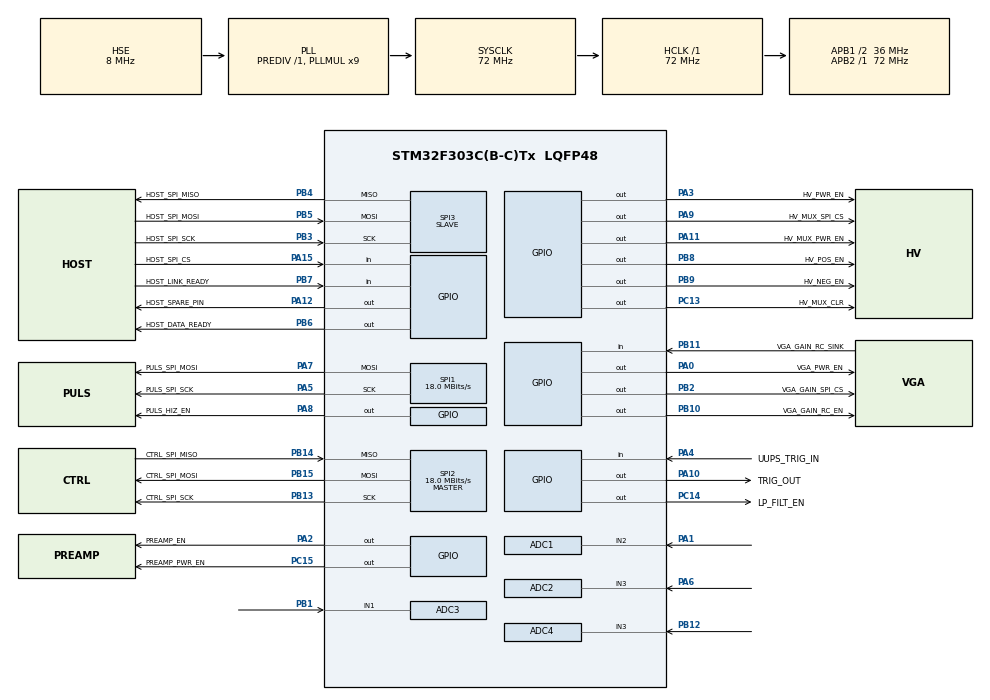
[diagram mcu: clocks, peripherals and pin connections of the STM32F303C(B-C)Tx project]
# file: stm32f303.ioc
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ADC1.Channel-6\#ChannelRegularConversion=ADC_CHANNEL_2
ADC1.DMAContinuousRequests=ENABLE
ADC1.EnableInjectedConversion=DISABLE
ADC1.ExternalTrigConv=ADC_EXTERNALTRIGCONV_T1_TRGO
ADC1.NbrOfConversionFlag=1
ADC1.Offset-6\#ChannelRegularConversion=0
ADC1.OffsetNumber-6\#ChannelRegularConversion=ADC_OFFSET_NONE
ADC1.Rank-6\#ChannelRegularConversion=1
ADC1.SamplingTime-6\#ChannelRegularConversion=ADC_SAMPLETIME_1CYCLE_5
ADC1.SamplingTimeOPAMP-6\#ChannelRegularConversion=ADC_SAMPLETIME_61CYCLES_5
ADC1.master=1
ADC2.Channel-4\#ChannelRegularConversion=ADC_CHANNEL_3
ADC2.DMAContinuousRequests=ENABLE
ADC2.EnableInjectedConversion=DISABLE
ADC2.ExternalTrigConv=ADC_EXTERNALTRIGCONV_T1_CC2
ADC2.NbrOfConversionFlag=1
ADC2.Offset-4\#ChannelRegularConversion=0
ADC2.OffsetNumber-4\#ChannelRegularConversion=ADC_OFFSET_NONE
ADC2.Rank-4\#ChannelRegularConversion=1
ADC2.SamplingTime-4\#ChannelRegularConversion=ADC_SAMPLETIME_1CYCLE_5
ADC2.SamplingTimeOPAMP-4\#ChannelRegularConversion=ADC_SAMPLETIME_61CYCLES_5
ADC3.Channel-0\#ChannelRegularConversion=ADC_CHANNEL_1
ADC3.DMAContinuousRequests=ENABLE
ADC3.EnableInjectedConversion=DISABLE
ADC3.ExternalTrigConv=ADC_EXTERNALTRIGCONV_T1_CC3
ADC3.NbrOfConversionFlag=1
ADC3.Offset-0\#ChannelRegularConversion=0
ADC3.OffsetNumber-0\#ChannelRegularConversion=ADC_OFFSET_NONE
ADC3.Rank-0\#ChannelRegularConversion=1
ADC3.SamplingTime-0\#ChannelRegularConversion=ADC_SAMPLETIME_1CYCLE_5
ADC3.SamplingTimeOPAMP-0\#ChannelRegularConversion=ADC_SAMPLETIME_61CYCLES_5
ADC3.master=1
ADC4.Channel-0\#ChannelRegularConversion=ADC_CHANNEL_3
ADC4.DMAContinuousRequests=ENABLE
ADC4.EnableInjectedConversion=DISABLE
ADC4.ExternalTrigConv=ADC_EXTERNALTRIGCONV_T1_TRGO2
ADC4.NbrOfConversionFlag=1
ADC4.Offset-0\#ChannelRegularConversion=0
ADC4.OffsetNumber-0\#ChannelRegularConversion=ADC_OFFSET_NONE
ADC4.Rank-0\#ChannelRegularConversion=1
ADC4.SamplingTime-0\#ChannelRegularConversion=ADC_SAMPLETIME_1CYCLE_5
Dma.ADC1.1.Direction=DMA_PERIPH_TO_MEMORY
Dma.ADC1.1.Instance=DMA1_Channel1
Dma.ADC1.1.MemDataAlignment=DMA_MDATAALIGN_HALFWORD
Dma.ADC1.1.MemInc=DMA_MINC_ENABLE
Dma.ADC1.1.Mode=DMA_CIRCULAR
Dma.ADC1.1.PeriphDataAlignment=DMA_PDATAALIGN_HALFWORD
Dma.ADC1.1.PeriphInc=DMA_PINC_DISABLE
Dma.ADC1.1.Priority=DMA_PRIORITY_VERY_HIGH
Dma.ADC2.2.Direction=DMA_PERIPH_TO_MEMORY
Dma.ADC2.2.Instance=DMA2_Channel1
Dma.ADC2.2.MemDataAlignment=DMA_MDATAALIGN_HALFWORD
Dma.ADC2.2.MemInc=DMA_MINC_ENABLE
Dma.ADC2.2.Mode=DMA_CIRCULAR
Dma.ADC2.2.PeriphDataAlignment=DMA_PDATAALIGN_HALFWORD
Dma.ADC2.2.PeriphInc=DMA_PINC_DISABLE
Dma.ADC2.2.Priority=DMA_PRIORITY_VERY_HIGH
Dma.ADC3.0.Direction=DMA_PERIPH_TO_MEMORY
Dma.ADC3.0.Instance=DMA2_Channel5
Dma.ADC3.0.MemDataAlignment=DMA_MDATAALIGN_HALFWORD
Dma.ADC3.0.MemInc=DMA_MINC_ENABLE
Dma.ADC3.0.Mode=DMA_CIRCULAR
Dma.ADC3.0.PeriphDataAlignment=DMA_PDATAALIGN_HALFWORD
Dma.ADC3.0.PeriphInc=DMA_PINC_DISABLE
Dma.ADC3.0.Priority=DMA_PRIORITY_VERY_HIGH
Dma.ADC4.3.Direction=DMA_PERIPH_TO_MEMORY
Dma.ADC4.3.Instance=DMA2_Channel2
Dma.ADC4.3.MemDataAlignment=DMA_MDATAALIGN_HALFWORD
Dma.ADC4.3.MemInc=DMA_MINC_ENABLE
Dma.ADC4.3.Mode=DMA_CIRCULAR
Dma.ADC4.3.PeriphDataAlignment=DMA_PDATAALIGN_HALFWORD
Dma.ADC4.3.PeriphInc=DMA_PINC_DISABLE
Dma.ADC4.3.Priority=DMA_PRIORITY_VERY_HIGH
Dma.Request0=ADC3
Dma.Request1=ADC1
Dma.Request2=ADC2
Dma.Request3=ADC4
Mcu.Family=STM32F3
Mcu.Name=STM32F303C(B-C)Tx
Mcu.Package=LQFP48
NVIC.DMA1_Channel1_IRQn=true\:0\:0\:false\:false\:true\:false\:true\:true
NVIC.DMA2_Channel1_IRQn=true\:0\:0\:false\:false\:true\:false\:true\:true
NVIC.DMA2_Channel2_IRQn=true\:0\:0\:false\:false\:true\:false\:true\:true
NVIC.DMA2_Channel5_IRQn=true\:0\:0\:false\:false\:true\:false\:true\:true
NVIC.PriorityGroup=NVIC_PRIORITYGROUP_4
PA0.GPIO_Label=VGA_PWR_EN
PA0.Signal=GPIO_Output
PA1.Mode=IN2-Single-Ended
PA1.Signal=ADC1_IN2
PA10.GPIO_Label=TRIG_OUT
PA10.Signal=GPIO_Output
PA11.GPIO_Label=HV_MUX_PWR_EN
PA11.Signal=GPIO_Output
PA12.GPIO_Label=HOST_SPARE_PIN
PA12.Signal=GPIO_Output
PA13.Mode=Serial_Wire
PA13.Signal=SYS_JTMS-SWDIO
PA14.Mode=Serial_Wire
PA14.Signal=SYS_JTCK-SWCLK
PA15.GPIO_Label=HOST_SPI_CS
PA15.Signal=GPIO_Input
PA2.GPIO_Label=PREAMP_EN
PA2.Signal=GPIO_Output
PA3.GPIO_Label=HV_PWR_EN
PA3.Signal=GPIO_Output
PA4.GPIO_Label=UUPS_TRIG_IN
PA4.Signal=GPIO_Input
PA5.GPIO_Label=PULS_SPI_SCK
PA5.Mode=TX_Only_Simplex_Unidirect_Master
PA5.Signal=SPI1_SCK
PA6.Mode=IN3-Single-Ended
PA6.Signal=ADC2_IN3
PA7.GPIO_Label=PULS_SPI_MOSI
PA7.Mode=TX_Only_Simplex_Unidirect_Master
PA7.Signal=SPI1_MOSI
PA8.GPIO_Label=PULS_HIZ_EN
PA8.Signal=GPIO_Output
PA9.GPIO_Label=HV_MUX_SPI_CS
PA9.Signal=GPIO_Output
PB1.Mode=IN1-Single-Ended
PB1.Signal=ADC3_IN1
PB10.GPIO_Label=VGA_GAIN_RC_EN
PB10.Signal=GPIO_Output
PB11.GPIO_Label=VGA_GAIN_RC_SINK
PB11.Signal=GPIO_Input
PB12.Mode=IN3-Single-Ended
PB12.Signal=ADC4_IN3
PB13.GPIO_Label=CTRL_SPI_SCK
PB13.Mode=Full_Duplex_Master
PB13.Signal=SPI2_SCK
PB14.GPIO_Label=CTRL_SPI_MISO
PB14.Mode=Full_Duplex_Master
PB14.Signal=SPI2_MISO
PB15.GPIO_Label=CTRL_SPI_MOSI
PB15.Mode=Full_Duplex_Master
PB15.Signal=SPI2_MOSI
PB2.GPIO_Label=VGA_GAIN_SPI_CS
PB2.Signal=GPIO_Output
PB3.GPIO_Label=HOST_SPI_SCK
PB3.Mode=Full_Duplex_Slave
PB3.Signal=SPI3_SCK
PB4.GPIO_Label=HOST_SPI_MISO
PB4.Mode=Full_Duplex_Slave
PB4.Signal=SPI3_MISO
PB5.GPIO_Label=HOST_SPI_MOSI
PB5.Mode=Full_Duplex_Slave
PB5.Signal=SPI3_MOSI
PB6.GPIO_Label=HOST_DATA_READY
PB6.Signal=GPIO_Output
PB7.GPIO_Label=HOST_LINK_READY
PB7.Signal=GPIO_Input
PB8.GPIO_Label=HV_POS_EN
PB8.Signal=GPIO_Output
PB9.GPIO_Label=HV_NEG_EN
PB9.Signal=GPIO_Output
PC13.GPIO_Label=HV_MUX_CLR
PC13.Signal=GPIO_Output
PC14-OSC32_IN.GPIO_Label=LP_FILT_EN
PC14-OSC32_IN.Signal=GPIO_Output
PC15-OSC32_OUT.GPIO_Label=PREAMP_PWR_EN
PC15-OSC32_OUT.Signal=GPIO_Output
PF0-OSC_IN.Mode=HSE-External-Oscillator
PF0-OSC_IN.Signal=RCC_OSC_IN
PF1-OSC_OUT.Mode=HSE-External-Oscillator
PF1-OSC_OUT.Signal=RCC_OSC_OUT
ProjectManager.HeapSize=0x200
ProjectManager.StackSize=0x400
ProjectManager.TargetToolchain=EWARM V8.32
RCC.AHBFreq_Value=72000000
RCC.APB1CLKDivider=RCC_HCLK_DIV2
RCC.APB1Freq_Value=36000000
RCC.APB1TimFreq_Value=72000000
RCC.APB2Freq_Value=72000000
RCC.APB2TimFreq_Value=72000000
RCC.CortexFreq_Value=72000000
RCC.HCLKFreq_Value=72000000
RCC.HSE_VALUE=8000000
RCC.HSI_VALUE=8000000
RCC.LSE_VALUE=32768
RCC.PLLMUL=RCC_PLL_MUL9
RCC.PLLSourceVirtual=RCC_PLLSOURCE_HSE
RCC.SYSCLKFreq_VALUE=72000000
RCC.SYSCLKSourceVirtual=RCC_SYSCLKSOURCE_PLLCLK
RCC.TIM1Selection=RCC_TIM1CLK_PLLCLK
RCC.USBFreq_Value=72000000
SPI1.BaudRatePrescaler=SPI_BAUDRATEPRESCALER_4
SPI1.CalculateBaudRate=18.0 MBits/s
SPI1.Direction=SPI_DIRECTION_2LINES
SPI1.Mode=SPI_MODE_MASTER
SPI1.VirtualType=VM_MASTER
SPI2.CalculateBaudRate=18.0 MBits/s
SPI2.Direction=SPI_DIRECTION_2LINES
SPI2.Mode=SPI_MODE_MASTER
SPI2.VirtualType=VM_MASTER
SPI3.Direction=SPI_DIRECTION_2LINES
SPI3.Mode=SPI_MODE_SLAVE
SPI3.VirtualType=VM_SLAVE
TIM1.AutoReloadPreload=TIM_AUTORELOAD_PRELOAD_ENABLE
TIM1.Channel-PWM\ Generation2\ No\ Output=TIM_CHANNEL_2
TIM1.Channel-PWM\ Generation3\ No\ Output=TIM_CHANNEL_3
TIM1.Channel-PWM\ Generation4\ No\ Output=TIM_CHANNEL_4
TIM1.OCMode_PWM-PWM\ Generation2\ No\ Output=TIM_OCMODE_PWM2
TIM1.OCMode_PWM-PWM\ Generation3\ No\ Output=TIM_OCMODE_PWM2
TIM1.OCMode_PWM-PWM\ Generation4\ No\ Output=TIM_OCMODE_PWM2
TIM1.Period=31
TIM1.Pulse-PWM\ Generation2\ No\ Output=8
TIM1.Pulse-PWM\ Generation3\ No\ Output=16
TIM1.TIM_MasterOutputTrigger=TIM_TRGO_UPDATE
TIM1.TIM_MasterOutputTrigger2=TIM_TRGO2_OC4REF
VP_TIM1_VS_ClockSourceINT.Mode=Internal
VP_TIM1_VS_no_output2.Mode=PWM Generation2 No Output
VP_TIM1_VS_no_output3.Mode=PWM Generation3 No Output
VP_TIM1_VS_no_output4.Mode=PWM Generation4 No Output
board=custom

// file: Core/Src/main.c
/* USER CODE BEGIN Header */
/**
  ******************************************************************************
  * @file           : main.c
  * @brief          : Main program body
  ******************************************************************************
  * @attention
  *
  * Copyright (c) 2026 STMicroelectronics.
  * All rights reserved.
  *
  * This software is licensed under terms that can be found in the LICENSE file
  * in the root directory of this software component.
  * If no LICENSE file comes with this software, it is provided AS-IS.
  *
  ******************************************************************************
  */
/* USER CODE END Header */
#include "main.h"

ADC_HandleTypeDef hadc1;
ADC_HandleTypeDef hadc2;
ADC_HandleTypeDef hadc3;
ADC_HandleTypeDef hadc4;
DMA_HandleTypeDef hdma_adc1;
DMA_HandleTypeDef hdma_adc2;
DMA_HandleTypeDef hdma_adc3;
DMA_HandleTypeDef hdma_adc4;

SPI_HandleTypeDef hspi1;
SPI_HandleTypeDef hspi2;
SPI_HandleTypeDef hspi3;

TIM_HandleTypeDef htim1;

/* USER CODE BEGIN PV */

#define BUFFER_SIZE 1000
#define TOTAL_SAMPLES (BUFFER_SIZE * 4)

uint16_t adc1_buf[BUFFER_SIZE];
uint16_t adc2_buf[BUFFER_SIZE];
uint16_t adc3_buf[BUFFER_SIZE];
uint16_t adc4_buf[BUFFER_SIZE];

uint16_t interleaved_buffer[TOTAL_SAMPLES];

volatile uint8_t dma_half_ready = 0;
volatile uint8_t dma_full_ready = 0;

// Diferencias medidas respecto al ADC1
int16_t offset_adc2 = 0;
int16_t offset_adc4 = 0;
int16_t offset_adc3 = 0;

//int16_t offset_adc2 = -57;  // 1117 - 1174
//int16_t offset_adc4 = -73;  // 1117 - 1190
//int16_t offset_adc3 = -69;  // 1117 - 1186

/* USER CODE END PV */

void SystemClock_Config(void);
static void MX_GPIO_Init(void);
static void MX_DMA_Init(void);
static void MX_ADC1_Init(void);
static void MX_ADC2_Init(void);
static void MX_ADC3_Init(void);
static void MX_ADC4_Init(void);
static void MX_SPI2_Init(void);
static void MX_SPI3_Init(void);
static void MX_SPI1_Init(void);
static void MX_TIM1_Init(void);

int main(void)
{

  /* MCU Configuration--------------------------------------------------------*/

  /* Reset of all peripherals, Initializes the Flash interface and the Systick. */
  HAL_Init();

  /* Configure the system clock */
  SystemClock_Config();

  /* Initialize all configured peripherals */
  MX_GPIO_Init();
  MX_DMA_Init();
  MX_ADC1_Init();
  MX_ADC2_Init();
  MX_ADC3_Init();
  MX_ADC4_Init();
  MX_SPI2_Init();
  MX_SPI3_Init();
  MX_SPI1_Init();
  MX_TIM1_Init();
  /* USER CODE BEGIN 2 */

  /* 0. Calibrate ADCs */
  HAL_ADCEx_Calibration_Start(&hadc1, ADC_SINGLE_ENDED);
  HAL_ADCEx_Calibration_Start(&hadc2, ADC_SINGLE_ENDED);
  HAL_ADCEx_Calibration_Start(&hadc3, ADC_SINGLE_ENDED);
  HAL_ADCEx_Calibration_Start(&hadc4, ADC_SINGLE_ENDED);

  /* 1. Enable PWM pins silently (DO NOT start the Timer clock yet!) */
  TIM_CCxChannelCmd(htim1.Instance, TIM_CHANNEL_2, TIM_CCx_ENABLE);
  TIM_CCxChannelCmd(htim1.Instance, TIM_CHANNEL_3, TIM_CCx_ENABLE);
  TIM_CCxChannelCmd(htim1.Instance, TIM_CHANNEL_4, TIM_CCx_ENABLE);
  __HAL_TIM_MOE_ENABLE(&htim1);

  /* 2. Clear flags to avoid ghost triggers */
  htim1.Instance->EGR = TIM_EGR_UG;
  __HAL_TIM_CLEAR_FLAG(&htim1, TIM_FLAG_UPDATE);

  /* 3. Arm ADCs. They will wait synchronously for the first clock tick */
  HAL_ADC_Start_DMA(&hadc1, (uint32_t*)adc1_buf, BUFFER_SIZE);
  HAL_ADC_Start_DMA(&hadc2, (uint32_t*)adc2_buf, BUFFER_SIZE);
  HAL_ADC_Start_DMA(&hadc3, (uint32_t*)adc3_buf, BUFFER_SIZE);
  HAL_ADC_Start_DMA(&hadc4, (uint32_t*)adc4_buf, BUFFER_SIZE);

  /* 4. FIRE! Start the master clock */
  __HAL_TIM_ENABLE(&htim1);

  /* USER CODE END 2 */

  /* Infinite loop */
  /* USER CODE BEGIN WHILE */

  while (1)
  {
    if (dma_half_ready)
    {
        dma_half_ready = 0;
        Interleave_Data(0, BUFFER_SIZE / 2);
    }

    if (dma_full_ready)
    {
        dma_full_ready = 0;
        Interleave_Data(BUFFER_SIZE / 2, BUFFER_SIZE);

        __NOP();

        /* Your interleaved_buffer is completely updated here. */
        /* You can pass it to your Edge AI processing pipeline. */
    }
    /* USER CODE END WHILE */

  }
}

void SystemClock_Config(void)
{
  RCC_OscInitTypeDef RCC_OscInitStruct = {0};
  RCC_ClkInitTypeDef RCC_ClkInitStruct = {0};
  RCC_PeriphCLKInitTypeDef PeriphClkInit = {0};

  /** Initializes the RCC Oscillators according to the specified parameters
  * in the RCC_OscInitTypeDef structure.
  */
  RCC_OscInitStruct.OscillatorType = RCC_OSCILLATORTYPE_HSE;
  RCC_OscInitStruct.HSEState = RCC_HSE_ON;
  RCC_OscInitStruct.HSEPredivValue = RCC_HSE_PREDIV_DIV1;
  RCC_OscInitStruct.HSIState = RCC_HSI_ON;
  RCC_OscInitStruct.PLL.PLLState = RCC_PLL_ON;
  RCC_OscInitStruct.PLL.PLLSource = RCC_PLLSOURCE_HSE;
  RCC_OscInitStruct.PLL.PLLMUL = RCC_PLL_MUL9;
  if (HAL_RCC_OscConfig(&RCC_OscInitStruct) != HAL_OK)
  {
    Error_Handler();
  }

  /** Initializes the CPU, AHB and APB buses clocks
  */
  RCC_ClkInitStruct.ClockType = RCC_CLOCKTYPE_HCLK|RCC_CLOCKTYPE_SYSCLK
                              |RCC_CLOCKTYPE_PCLK1|RCC_CLOCKTYPE_PCLK2;
  RCC_ClkInitStruct.SYSCLKSource = RCC_SYSCLKSOURCE_PLLCLK;
  RCC_ClkInitStruct.AHBCLKDivider = RCC_SYSCLK_DIV1;
  RCC_ClkInitStruct.APB1CLKDivider = RCC_HCLK_DIV2;
  RCC_ClkInitStruct.APB2CLKDivider = RCC_HCLK_DIV1;

  if (HAL_RCC_ClockConfig(&RCC_ClkInitStruct, FLASH_LATENCY_2) != HAL_OK)
  {
    Error_Handler();
  }
  PeriphClkInit.PeriphClockSelection = RCC_PERIPHCLK_TIM1|RCC_PERIPHCLK_ADC12
                              |RCC_PERIPHCLK_ADC34;
  PeriphClkInit.Adc12ClockSelection = RCC_ADC12PLLCLK_DIV1;
  PeriphClkInit.Adc34ClockSelection = RCC_ADC34PLLCLK_DIV1;
  PeriphClkInit.Tim1ClockSelection = RCC_TIM1CLK_PLLCLK;
  if (HAL_RCCEx_PeriphCLKConfig(&PeriphClkInit) != HAL_OK)
  {
    Error_Handler();
  }
}

static void MX_ADC1_Init(void)
{

  ADC_MultiModeTypeDef multimode = {0};
  ADC_ChannelConfTypeDef sConfig = {0};

  /** Common config
  */
  hadc1.Instance = ADC1;
  hadc1.Init.ClockPrescaler = ADC_CLOCK_ASYNC_DIV1;
  hadc1.Init.Resolution = ADC_RESOLUTION_12B;
  hadc1.Init.ScanConvMode = ADC_SCAN_DISABLE;
  hadc1.Init.ContinuousConvMode = DISABLE;
  hadc1.Init.DiscontinuousConvMode = DISABLE;
  hadc1.Init.ExternalTrigConvEdge = ADC_EXTERNALTRIGCONVEDGE_RISING;
  hadc1.Init.ExternalTrigConv = ADC_EXTERNALTRIGCONV_T1_TRGO;
  hadc1.Init.DataAlign = ADC_DATAALIGN_RIGHT;
  hadc1.Init.NbrOfConversion = 1;
  hadc1.Init.DMAContinuousRequests = ENABLE;
  hadc1.Init.EOCSelection = ADC_EOC_SINGLE_CONV;
  hadc1.Init.LowPowerAutoWait = DISABLE;
  hadc1.Init.Overrun = ADC_OVR_DATA_OVERWRITTEN;
  if (HAL_ADC_Init(&hadc1) != HAL_OK)
  {
    Error_Handler();
  }

  /** Configure the ADC multi-mode
  */
  multimode.Mode = ADC_MODE_INDEPENDENT;
  if (HAL_ADCEx_MultiModeConfigChannel(&hadc1, &multimode) != HAL_OK)
  {
    Error_Handler();
  }

  /** Configure Regular Channel
  */
  sConfig.Channel = ADC_CHANNEL_2;
  sConfig.Rank = ADC_REGULAR_RANK_1;
  sConfig.SingleDiff = ADC_SINGLE_ENDED;
  sConfig.SamplingTime = ADC_SAMPLETIME_1CYCLE_5;
  sConfig.OffsetNumber = ADC_OFFSET_NONE;
  sConfig.Offset = 0;
  if (HAL_ADC_ConfigChannel(&hadc1, &sConfig) != HAL_OK)
  {
    Error_Handler();
  }

}

static void MX_ADC2_Init(void)
{

  ADC_ChannelConfTypeDef sConfig = {0};

  /** Common config
  */
  hadc2.Instance = ADC2;
  hadc2.Init.ClockPrescaler = ADC_CLOCK_ASYNC_DIV1;
  hadc2.Init.Resolution = ADC_RESOLUTION_12B;
  hadc2.Init.ScanConvMode = ADC_SCAN_DISABLE;
  hadc2.Init.ContinuousConvMode = DISABLE;
  hadc2.Init.DiscontinuousConvMode = DISABLE;
  hadc2.Init.ExternalTrigConvEdge = ADC_EXTERNALTRIGCONVEDGE_RISING;
  hadc2.Init.ExternalTrigConv = ADC_EXTERNALTRIGCONV_T1_CC2;
  hadc2.Init.DataAlign = ADC_DATAALIGN_RIGHT;
  hadc2.Init.NbrOfConversion = 1;
  hadc2.Init.DMAContinuousRequests = ENABLE;
  hadc2.Init.EOCSelection = ADC_EOC_SINGLE_CONV;
  hadc2.Init.LowPowerAutoWait = DISABLE;
  hadc2.Init.Overrun = ADC_OVR_DATA_OVERWRITTEN;
  if (HAL_ADC_Init(&hadc2) != HAL_OK)
  {
    Error_Handler();
  }

  /** Configure Regular Channel
  */
  sConfig.Channel = ADC_CHANNEL_3;
  sConfig.Rank = ADC_REGULAR_RANK_1;
  sConfig.SingleDiff = ADC_SINGLE_ENDED;
  sConfig.SamplingTime = ADC_SAMPLETIME_1CYCLE_5;
  sConfig.OffsetNumber = ADC_OFFSET_NONE;
  sConfig.Offset = 0;
  if (HAL_ADC_ConfigChannel(&hadc2, &sConfig) != HAL_OK)
  {
    Error_Handler();
  }

}

static void MX_ADC3_Init(void)
{

  ADC_MultiModeTypeDef multimode = {0};
  ADC_ChannelConfTypeDef sConfig = {0};

  /** Common config
  */
  hadc3.Instance = ADC3;
  hadc3.Init.ClockPrescaler = ADC_CLOCK_ASYNC_DIV1;
  hadc3.Init.Resolution = ADC_RESOLUTION_12B;
  hadc3.Init.ScanConvMode = ADC_SCAN_DISABLE;
  hadc3.Init.ContinuousConvMode = DISABLE;
  hadc3.Init.DiscontinuousConvMode = DISABLE;
  hadc3.Init.ExternalTrigConvEdge = ADC_EXTERNALTRIGCONVEDGE_RISING;
  hadc3.Init.ExternalTrigConv = ADC_EXTERNALTRIGCONV_T1_CC3;
  hadc3.Init.DataAlign = ADC_DATAALIGN_RIGHT;
  hadc3.Init.NbrOfConversion = 1;
  hadc3.Init.DMAContinuousRequests = ENABLE;
  hadc3.Init.EOCSelection = ADC_EOC_SINGLE_CONV;
  hadc3.Init.LowPowerAutoWait = DISABLE;
  hadc3.Init.Overrun = ADC_OVR_DATA_OVERWRITTEN;
  if (HAL_ADC_Init(&hadc3) != HAL_OK)
  {
    Error_Handler();
  }

  /** Configure the ADC multi-mode
  */
  multimode.Mode = ADC_MODE_INDEPENDENT;
  if (HAL_ADCEx_MultiModeConfigChannel(&hadc3, &multimode) != HAL_OK)
  {
    Error_Handler();
  }

  /** Configure Regular Channel
  */
  sConfig.Channel = ADC_CHANNEL_1;
  sConfig.Rank = ADC_REGULAR_RANK_1;
  sConfig.SingleDiff = ADC_SINGLE_ENDED;
  sConfig.SamplingTime = ADC_SAMPLETIME_1CYCLE_5;
  sConfig.OffsetNumber = ADC_OFFSET_NONE;
  sConfig.Offset = 0;
  if (HAL_ADC_ConfigChannel(&hadc3, &sConfig) != HAL_OK)
  {
    Error_Handler();
  }

}

static void MX_ADC4_Init(void)
{

  ADC_ChannelConfTypeDef sConfig = {0};

  /** Common config
  */
  hadc4.Instance = ADC4;
  hadc4.Init.ClockPrescaler = ADC_CLOCK_ASYNC_DIV1;
  hadc4.Init.Resolution = ADC_RESOLUTION_12B;
  hadc4.Init.ScanConvMode = ADC_SCAN_DISABLE;
  hadc4.Init.ContinuousConvMode = DISABLE;
  hadc4.Init.DiscontinuousConvMode = DISABLE;
  hadc4.Init.ExternalTrigConvEdge = ADC_EXTERNALTRIGCONVEDGE_RISING;
  hadc4.Init.ExternalTrigConv = ADC_EXTERNALTRIGCONV_T1_TRGO2;
  hadc4.Init.DataAlign = ADC_DATAALIGN_RIGHT;
  hadc4.Init.NbrOfConversion = 1;
  hadc4.Init.DMAContinuousRequests = ENABLE;
  hadc4.Init.EOCSelection = ADC_EOC_SINGLE_CONV;
  hadc4.Init.LowPowerAutoWait = DISABLE;
  hadc4.Init.Overrun = ADC_OVR_DATA_OVERWRITTEN;
  if (HAL_ADC_Init(&hadc4) != HAL_OK)
  {
    Error_Handler();
  }

  /** Configure Regular Channel
  */
  sConfig.Channel = ADC_CHANNEL_3;
  sConfig.Rank = ADC_REGULAR_RANK_1;
  sConfig.SingleDiff = ADC_SINGLE_ENDED;
  sConfig.SamplingTime = ADC_SAMPLETIME_1CYCLE_5;
  sConfig.OffsetNumber = ADC_OFFSET_NONE;
  sConfig.Offset = 0;
  if (HAL_ADC_ConfigChannel(&hadc4, &sConfig) != HAL_OK)
  {
    Error_Handler();
  }

}

static void MX_SPI1_Init(void)
{

  /* SPI1 parameter configuration*/
  hspi1.Instance = SPI1;
  hspi1.Init.Mode = SPI_MODE_MASTER;
  hspi1.Init.Direction = SPI_DIRECTION_2LINES;
  hspi1.Init.DataSize = SPI_DATASIZE_4BIT;
  hspi1.Init.CLKPolarity = SPI_POLARITY_LOW;
  hspi1.Init.CLKPhase = SPI_PHASE_1EDGE;
  hspi1.Init.NSS = SPI_NSS_SOFT;
  hspi1.Init.BaudRatePrescaler = SPI_BAUDRATEPRESCALER_4;
  hspi1.Init.FirstBit = SPI_FIRSTBIT_MSB;
  hspi1.Init.TIMode = SPI_TIMODE_DISABLE;
  hspi1.Init.CRCCalculation = SPI_CRCCALCULATION_DISABLE;
  hspi1.Init.CRCPolynomial = 7;
  hspi1.Init.CRCLength = SPI_CRC_LENGTH_DATASIZE;
  hspi1.Init.NSSPMode = SPI_NSS_PULSE_ENABLE;
  if (HAL_SPI_Init(&hspi1) != HAL_OK)
  {
    Error_Handler();
  }

}

static void MX_SPI2_Init(void)
{

  /* SPI2 parameter configuration*/
  hspi2.Instance = SPI2;
  hspi2.Init.Mode = SPI_MODE_MASTER;
  hspi2.Init.Direction = SPI_DIRECTION_2LINES;
  hspi2.Init.DataSize = SPI_DATASIZE_4BIT;
  hspi2.Init.CLKPolarity = SPI_POLARITY_LOW;
  hspi2.Init.CLKPhase = SPI_PHASE_1EDGE;
  hspi2.Init.NSS = SPI_NSS_SOFT;
  hspi2.Init.BaudRatePrescaler = SPI_BAUDRATEPRESCALER_2;
  hspi2.Init.FirstBit = SPI_FIRSTBIT_MSB;
  hspi2.Init.TIMode = SPI_TIMODE_DISABLE;
  hspi2.Init.CRCCalculation = SPI_CRCCALCULATION_DISABLE;
  hspi2.Init.CRCPolynomial = 7;
  hspi2.Init.CRCLength = SPI_CRC_LENGTH_DATASIZE;
  hspi2.Init.NSSPMode = SPI_NSS_PULSE_ENABLE;
  if (HAL_SPI_Init(&hspi2) != HAL_OK)
  {
    Error_Handler();
  }

}

static void MX_SPI3_Init(void)
{

  /* SPI3 parameter configuration*/
  hspi3.Instance = SPI3;
  hspi3.Init.Mode = SPI_MODE_SLAVE;
  hspi3.Init.Direction = SPI_DIRECTION_2LINES;
  hspi3.Init.DataSize = SPI_DATASIZE_4BIT;
  hspi3.Init.CLKPolarity = SPI_POLARITY_LOW;
  hspi3.Init.CLKPhase = SPI_PHASE_1EDGE;
  hspi3.Init.NSS = SPI_NSS_SOFT;
  hspi3.Init.FirstBit = SPI_FIRSTBIT_MSB;
  hspi3.Init.TIMode = SPI_TIMODE_DISABLE;
  hspi3.Init.CRCCalculation = SPI_CRCCALCULATION_DISABLE;
  hspi3.Init.CRCPolynomial = 7;
  hspi3.Init.CRCLength = SPI_CRC_LENGTH_DATASIZE;
  hspi3.Init.NSSPMode = SPI_NSS_PULSE_DISABLE;
  if (HAL_SPI_Init(&hspi3) != HAL_OK)
  {
    Error_Handler();
  }

}

static void MX_TIM1_Init(void)
{

  TIM_ClockConfigTypeDef sClockSourceConfig = {0};
  TIM_MasterConfigTypeDef sMasterConfig = {0};
  TIM_OC_InitTypeDef sConfigOC = {0};
  TIM_BreakDeadTimeConfigTypeDef sBreakDeadTimeConfig = {0};

  htim1.Instance = TIM1;
  htim1.Init.Prescaler = 0;
  htim1.Init.CounterMode = TIM_COUNTERMODE_UP;
  htim1.Init.Period = 31;
  htim1.Init.ClockDivision = TIM_CLOCKDIVISION_DIV1;
  htim1.Init.RepetitionCounter = 0;
  htim1.Init.AutoReloadPreload = TIM_AUTORELOAD_PRELOAD_ENABLE;
  if (HAL_TIM_Base_Init(&htim1) != HAL_OK)
  {
    Error_Handler();
  }
  sClockSourceConfig.ClockSource = TIM_CLOCKSOURCE_INTERNAL;
  if (HAL_TIM_ConfigClockSource(&htim1, &sClockSourceConfig) != HAL_OK)
  {
    Error_Handler();
  }
  if (HAL_TIM_PWM_Init(&htim1) != HAL_OK)
  {
    Error_Handler();
  }
  sMasterConfig.MasterOutputTrigger = TIM_TRGO_UPDATE;
  sMasterConfig.MasterOutputTrigger2 = TIM_TRGO2_OC4REF;
  sMasterConfig.MasterSlaveMode = TIM_MASTERSLAVEMODE_DISABLE;
  if (HAL_TIMEx_MasterConfigSynchronization(&htim1, &sMasterConfig) != HAL_OK)
  {
    Error_Handler();
  }
  sConfigOC.OCMode = TIM_OCMODE_PWM2;
  sConfigOC.Pulse = 8;
  sConfigOC.OCPolarity = TIM_OCPOLARITY_HIGH;
  sConfigOC.OCNPolarity = TIM_OCNPOLARITY_HIGH;
  sConfigOC.OCFastMode = TIM_OCFAST_DISABLE;
  sConfigOC.OCIdleState = TIM_OCIDLESTATE_RESET;
  sConfigOC.OCNIdleState = TIM_OCNIDLESTATE_RESET;
  if (HAL_TIM_PWM_ConfigChannel(&htim1, &sConfigOC, TIM_CHANNEL_2) != HAL_OK)
  {
    Error_Handler();
  }
  sConfigOC.Pulse = 16;
  if (HAL_TIM_PWM_ConfigChannel(&htim1, &sConfigOC, TIM_CHANNEL_3) != HAL_OK)
  {
    Error_Handler();
  }
  sConfigOC.Pulse = 0;
  if (HAL_TIM_PWM_ConfigChannel(&htim1, &sConfigOC, TIM_CHANNEL_4) != HAL_OK)
  {
    Error_Handler();
  }
  sBreakDeadTimeConfig.OffStateRunMode = TIM_OSSR_DISABLE;
  sBreakDeadTimeConfig.OffStateIDLEMode = TIM_OSSI_DISABLE;
  sBreakDeadTimeConfig.LockLevel = TIM_LOCKLEVEL_OFF;
  sBreakDeadTimeConfig.DeadTime = 0;
  sBreakDeadTimeConfig.BreakState = TIM_BREAK_DISABLE;
  sBreakDeadTimeConfig.BreakPolarity = TIM_BREAKPOLARITY_HIGH;
  sBreakDeadTimeConfig.BreakFilter = 0;
  sBreakDeadTimeConfig.Break2State = TIM_BREAK2_DISABLE;
  sBreakDeadTimeConfig.Break2Polarity = TIM_BREAK2POLARITY_HIGH;
  sBreakDeadTimeConfig.Break2Filter = 0;
  sBreakDeadTimeConfig.AutomaticOutput = TIM_AUTOMATICOUTPUT_DISABLE;
  if (HAL_TIMEx_ConfigBreakDeadTime(&htim1, &sBreakDeadTimeConfig) != HAL_OK)
  {
    Error_Handler();
  }

}

static void MX_DMA_Init(void)
{

  /* DMA controller clock enable */
  __HAL_RCC_DMA2_CLK_ENABLE();
  __HAL_RCC_DMA1_CLK_ENABLE();

  /* DMA interrupt init */
  /* DMA1_Channel1_IRQn interrupt configuration */
  HAL_NVIC_SetPriority(DMA1_Channel1_IRQn, 0, 0);
  HAL_NVIC_EnableIRQ(DMA1_Channel1_IRQn);
  /* DMA2_Channel1_IRQn interrupt configuration */
  HAL_NVIC_SetPriority(DMA2_Channel1_IRQn, 0, 0);
  HAL_NVIC_EnableIRQ(DMA2_Channel1_IRQn);
  /* DMA2_Channel2_IRQn interrupt configuration */
  HAL_NVIC_SetPriority(DMA2_Channel2_IRQn, 0, 0);
  HAL_NVIC_EnableIRQ(DMA2_Channel2_IRQn);
  /* DMA2_Channel5_IRQn interrupt configuration */
  HAL_NVIC_SetPriority(DMA2_Channel5_IRQn, 0, 0);
  HAL_NVIC_EnableIRQ(DMA2_Channel5_IRQn);

}

static void MX_GPIO_Init(void)
{
  GPIO_InitTypeDef GPIO_InitStruct = {0};

  /* GPIO Ports Clock Enable */
  __HAL_RCC_GPIOC_CLK_ENABLE();
  __HAL_RCC_GPIOF_CLK_ENABLE();
  __HAL_RCC_GPIOA_CLK_ENABLE();
  __HAL_RCC_GPIOB_CLK_ENABLE();

  /*Configure GPIO pin Output Level */
  HAL_GPIO_WritePin(GPIOC, HV_MUX_CLR_Pin|LP_FILT_EN_Pin|PREAMP_PWR_EN_Pin, GPIO_PIN_RESET);

  /*Configure GPIO pin Output Level */
  HAL_GPIO_WritePin(GPIOA, VGA_PWR_EN_Pin|PREAMP_EN_Pin|HV_PWR_EN_Pin|PULS_HIZ_EN_Pin
                          |HV_MUX_SPI_CS_Pin|TRIG_OUT_Pin|HV_MUX_PWR_EN_Pin|HOST_SPARE_PIN_Pin, GPIO_PIN_RESET);

  /*Configure GPIO pin Output Level */
  HAL_GPIO_WritePin(GPIOB, VGA_GAIN_SPI_CS_Pin|VGA_GAIN_RC_EN_Pin|HOST_DATA_READY_Pin|HV_POS_EN_Pin
                          |HV_NEG_EN_Pin, GPIO_PIN_RESET);

  /*Configure GPIO pins : HV_MUX_CLR_Pin LP_FILT_EN_Pin PREAMP_PWR_EN_Pin */
  GPIO_InitStruct.Pin = HV_MUX_CLR_Pin|LP_FILT_EN_Pin|PREAMP_PWR_EN_Pin;
  GPIO_InitStruct.Mode = GPIO_MODE_OUTPUT_PP;
  GPIO_InitStruct.Pull = GPIO_NOPULL;
  GPIO_InitStruct.Speed = GPIO_SPEED_FREQ_LOW;
  HAL_GPIO_Init(GPIOC, &GPIO_InitStruct);

  /*Configure GPIO pins : VGA_PWR_EN_Pin PREAMP_EN_Pin HV_PWR_EN_Pin PULS_HIZ_EN_Pin
                           HV_MUX_SPI_CS_Pin TRIG_OUT_Pin HV_MUX_PWR_EN_Pin HOST_SPARE_PIN_Pin */
  GPIO_InitStruct.Pin = VGA_PWR_EN_Pin|PREAMP_EN_Pin|HV_PWR_EN_Pin|PULS_HIZ_EN_Pin
                          |HV_MUX_SPI_CS_Pin|TRIG_OUT_Pin|HV_MUX_PWR_EN_Pin|HOST_SPARE_PIN_Pin;
  GPIO_InitStruct.Mode = GPIO_MODE_OUTPUT_PP;
  GPIO_InitStruct.Pull = GPIO_NOPULL;
  GPIO_InitStruct.Speed = GPIO_SPEED_FREQ_LOW;
  HAL_GPIO_Init(GPIOA, &GPIO_InitStruct);

  /*Configure GPIO pins : UUPS_TRIG_IN_Pin HOST_SPI_CS_Pin */
  GPIO_InitStruct.Pin = UUPS_TRIG_IN_Pin|HOST_SPI_CS_Pin;
  GPIO_InitStruct.Mode = GPIO_MODE_INPUT;
  GPIO_InitStruct.Pull = GPIO_NOPULL;
  HAL_GPIO_Init(GPIOA, &GPIO_InitStruct);

  /*Configure GPIO pins : VGA_GAIN_SPI_CS_Pin VGA_GAIN_RC_EN_Pin HOST_DATA_READY_Pin HV_POS_EN_Pin
                           HV_NEG_EN_Pin */
  GPIO_InitStruct.Pin = VGA_GAIN_SPI_CS_Pin|VGA_GAIN_RC_EN_Pin|HOST_DATA_READY_Pin|HV_POS_EN_Pin
                          |HV_NEG_EN_Pin;
  GPIO_InitStruct.Mode = GPIO_MODE_OUTPUT_PP;
  GPIO_InitStruct.Pull = GPIO_NOPULL;
  GPIO_InitStruct.Speed = GPIO_SPEED_FREQ_LOW;
  HAL_GPIO_Init(GPIOB, &GPIO_InitStruct);

  /*Configure GPIO pins : VGA_GAIN_RC_SINK_Pin HOST_LINK_READY_Pin */
  GPIO_InitStruct.Pin = VGA_GAIN_RC_SINK_Pin|HOST_LINK_READY_Pin;
  GPIO_InitStruct.Mode = GPIO_MODE_INPUT;
  GPIO_InitStruct.Pull = GPIO_NOPULL;
  HAL_GPIO_Init(GPIOB, &GPIO_InitStruct);

}

void Error_Handler(void)
{
  __disable_irq();
  while (1)
  {
  }
}
